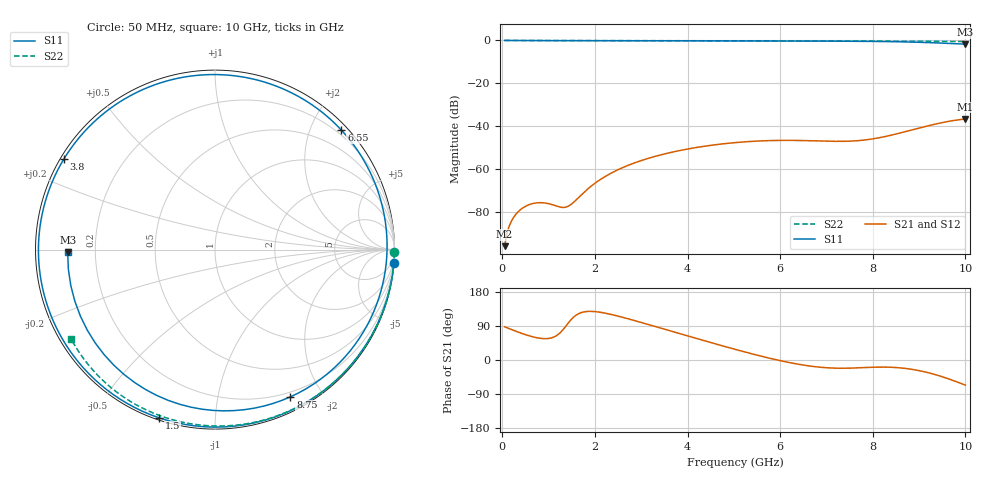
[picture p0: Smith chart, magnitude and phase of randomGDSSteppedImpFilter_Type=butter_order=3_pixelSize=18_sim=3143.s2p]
! freq	dB(S11)	phase(S11)	dB(S12)	phase(S12)
!  dB(S21)	phase(S21)	dB(S22)	phase(S22)
!S-par simulation data
#  GHz  S  DB  R 50
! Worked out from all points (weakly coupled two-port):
!   200 points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, 50 MHz to 10 GHz, reference 50 ohm
!   highest |S21| = -36.69 dB at 10 GHz (marker M1); lowest = -96.1 dB at 50 MHz (marker M2)
!   lowest |S11| = -1.7 dB at 10 GHz (marker M3), VSWR 10.17, Z = 4.92 - j0.431 ohm
!   |S11| at or under -10 dB: nowhere
!   |S22| runs from -0.5 to 0.0 dB; largest |S21 - S12| = 0
!   S11 on the Smith chart (normalised r, x): 50 MHz: 0, -28; 1.5 GHz: 0.01, -0.72; 3.8 GHz: 0.01, +0.28; 6.55 GHz: 0.11, +2.51; 8.75 GHz: 0.15, -1.62; 10 GHz: 0.10, -0.01
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0.05  -0.00 -4.2  -96.11 87.6  -96.11 87.6  -0.00 -0.9
0.4  -0.05 -32.5  -78.93 71.1  -78.93 71.1  -0.01 -6.8
0.8  -0.08 -62.9  -75.80 57.6  -75.80 57.6  -0.02 -13.6
1.3  -0.10 -96.4  -78.02 78.4  -78.02 78.4  -0.03 -22.0
1.5  -0.11 -108.4  -76.35 108.4  -76.35 108.4  -0.03 -25.3
1.75  -0.12 -122.3  -71.23 126.6  -71.23 126.6  -0.04 -29.5
2.55  -0.13 -160.8  -59.89 114.2  -59.89 114.2  -0.06 -42.5
3.4  -0.15 164.4  -53.58 84.9  -53.58 84.9  -0.07 -56.0
3.8  -0.16 149.1  -51.57 70.7  -51.57 70.7  -0.08 -62.2
4.45  -0.18 124.8  -49.16 47.8  -49.16 47.8  -0.10 -72.0
5.05  -0.20 102.3  -47.69 27.3  -47.69 27.3  -0.12 -80.8
5.8  -0.24 73.5  -46.77 3.9  -46.77 3.9  -0.16 -91.6
6.55  -0.27 43.4  -46.79 -14.3  -46.79 -14.3  -0.19 -102.1
6.7  -0.28 37.1  -46.88 -16.8  -46.88 -16.8  -0.20 -104.1
7.55  -0.37 0.0  -47.00 -21.3  -47.00 -21.3  -0.26 -115.6
7.95  -0.44 -19.0  -46.15 -19.3  -46.15 -19.3  -0.29 -121.0
8.35  -0.55 -39.6  -44.50 -19.0  -44.50 -19.0  -0.33 -126.3
8.75  -0.71 -62.9  -42.35 -22.9  -42.35 -22.9  -0.36 -131.5
9.1  -0.92 -86.9  -40.39 -30.7  -40.39 -30.7  -0.40 -136.2
9.4  -1.16 -111.7  -38.84 -40.4  -38.84 -40.4  -0.43 -140.1
9.7  -1.45 -142.1  -37.56 -52.5  -37.56 -52.5  -0.47 -144.1
10  -1.71 -179.0  -36.69 -66.3  -36.69 -66.3  -0.50 -148.1
